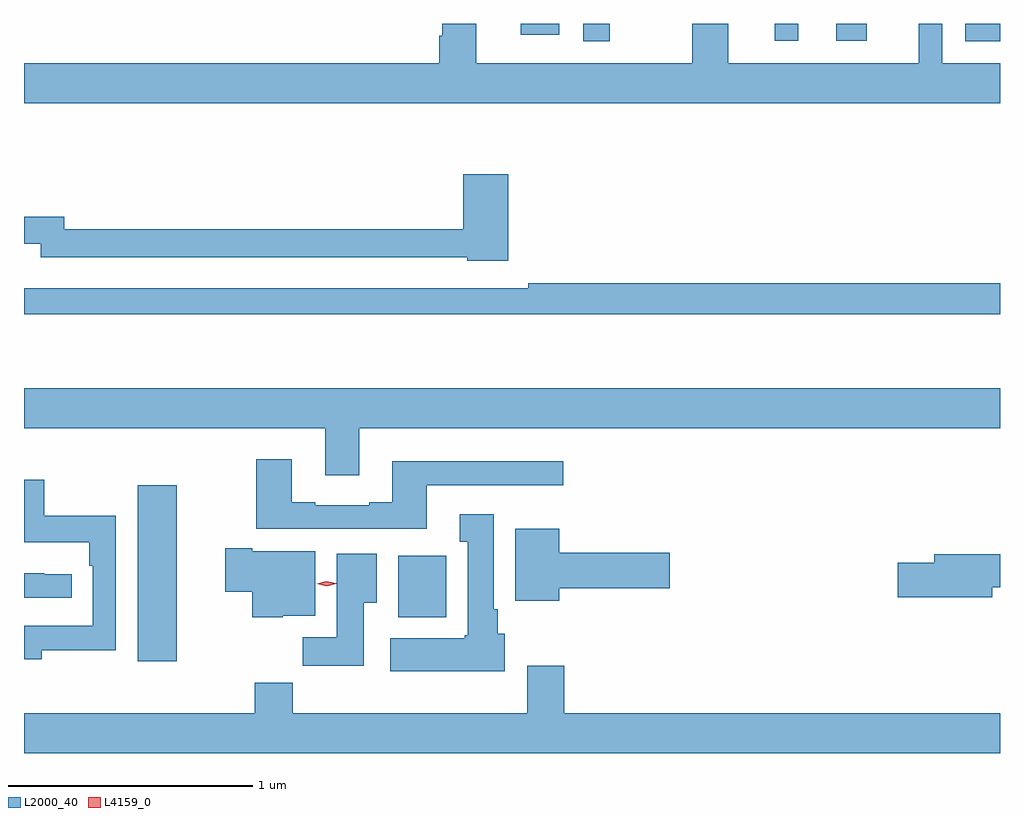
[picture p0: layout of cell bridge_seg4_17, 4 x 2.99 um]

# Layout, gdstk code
import gdstk
lib = gdstk.Library(unit=1e-6, precision=1e-09)
def R(c, l, rs):  # rectangles x0, y0, x1, y1
    for r in rs: c.add(gdstk.rectangle(r[:2], r[2:], *l))
def P(c, l, *ps):  # polygons
    for p in ps: c.add(gdstk.Polygon(p, *l))
L2000_40 = (2000, 40)
L4159_0 = (4159, 0)

bridge_seg4_17 = lib.new_cell('bridge_seg4_17')
R(bridge_seg4_17, L2000_40, [(1128.587,761.232,1128.748,761.953), (1129.655,761.414,1129.851,761.665), (1130.412,763.773,1130.521,763.845), (1131.978,763.773,1132.121,763.845), (1131.197,763.776,1131.295,763.845), (1131.45,763.776,1131.574,763.845), (1130.156,763.8,1130.314,763.845)])
P(bridge_seg4_17, L2000_40, [(1132.121,763.684),(1131.885,763.684),(1131.885,763.845),(1131.788,763.845),(1131.788,763.684),(1131.007,763.684),(1131.007,763.845),(1130.86,763.845),(1130.86,763.684),(1129.975,763.684),(1129.975,763.845),(1129.835,763.845),(1129.835,763.796),(1129.823,763.796),(1129.823,763.684),(1128.121,763.684),(1128.121,763.52),(1132.121,763.52)],
  [(1130.105,763.228),(1129.922,763.228),(1129.922,763.004),(1128.285,763.004),(1128.285,763.054),(1128.121,763.054),(1128.121,762.944),(1128.189,762.944),(1128.189,762.888),(1129.938,762.888),(1129.938,762.875),(1130.105,762.875)],
  [(1132.121,762.782),(1130.188,762.782),(1130.188,762.762),(1128.121,762.762),(1128.121,762.654),(1132.121,762.654)],
  [(1129.495,762.188),(1132.121,762.188),(1132.121,762.352),(1128.121,762.352),(1128.121,762.188),(1129.355,762.188),(1129.355,761.994),(1129.495,761.994)],
  [(1129.771,761.955),(1130.332,761.955),(1130.332,762.052),(1129.631,762.052),(1129.631,761.884),(1129.535,761.884),(1129.535,761.871),(1129.315,761.871),(1129.315,761.884),(1129.219,761.884),(1129.219,762.061),(1129.072,762.061),(1129.072,761.775),(1129.771,761.775)],
  [(1128.193,761.278),(1128.498,761.278),(1128.498,761.83),(1128.205,761.83),(1128.205,761.976),(1128.121,761.976),(1128.121,761.72),(1128.389,761.72),(1128.389,761.624),(1128.402,761.624),(1128.402,761.379),(1128.121,761.379),(1128.121,761.24),(1128.193,761.24)],
  [(1130.092,761.346),(1130.062,761.346),(1130.062,761.446),(1130.047,761.446),(1130.047,761.836),(1129.907,761.836),(1129.907,761.723),(1129.94,761.723),(1129.94,761.34),(1129.927,761.34),(1129.927,761.326),(1129.623,761.326),(1129.623,761.192),(1130.092,761.192)],
  [(1130.314,761.531),(1130.767,761.531),(1130.767,761.678),(1130.314,761.678),(1130.314,761.776),(1130.135,761.776),(1130.135,761.48),(1130.314,761.48)],
  [(1129.182,761.42),(1129.315,761.42),(1129.315,761.683),(1129.057,761.683),(1129.057,761.695),(1128.945,761.695),(1128.945,761.518),(1129.057,761.518),(1129.057,761.414),(1129.182,761.414)],
  [(1129.513,761.473),(1129.567,761.473),(1129.567,761.674),(1129.403,761.674),(1129.403,761.332),(1129.264,761.332),(1129.264,761.214),(1129.513,761.214)],
  [(1132.09,761.536),(1132.121,761.536),(1132.121,761.672),(1131.851,761.672),(1131.851,761.636),(1131.702,761.636),(1131.702,761.494),(1132.09,761.494)],
  [(1128.316,761.589),(1128.203,761.589),(1128.203,761.594),(1128.121,761.594),(1128.121,761.493),(1128.316,761.493)],
  [(1132.121,761.02),(1130.336,761.02),(1130.336,761.215),(1130.183,761.215),(1130.183,761.02),(1129.223,761.02),(1129.223,761.144),(1129.067,761.144),(1129.067,761.02),(1128.121,761.02),(1128.121,760.856),(1132.121,760.856)])
P(bridge_seg4_17, L4159_0, [(1129.361,761.541),(1129.321,761.55),(1129.321,761.55),(1129.321,761.55),(1129.36,761.561),(1129.4,761.552),(1129.4,761.551),(1129.4,761.551)])

lib.write_gds('bridge_seg4_17.gds')
